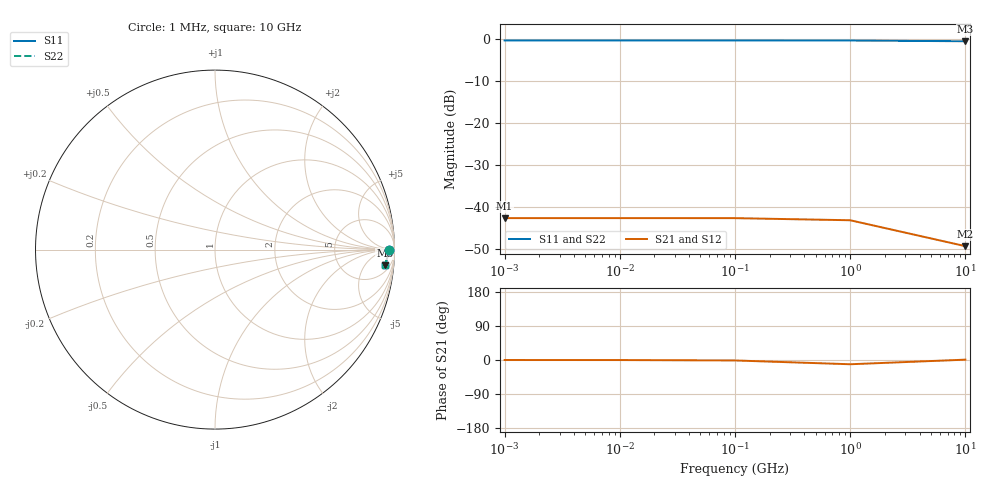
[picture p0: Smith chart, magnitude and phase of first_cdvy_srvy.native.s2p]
! Sonnet Data File
! From: em Version : 18.53-Lite
! From Project: d_cdsv
! Data is NOT De-embedded
! Data File Written: 10/12/2026 11:30:29
!< HDATE 10/12/2026 11:30:29
!< MDATE 10/12/2026 11:30:29
# GHZ S RI R 50.00000
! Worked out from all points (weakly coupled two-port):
!   5 points, 1 MHz to 10 GHz, reference 50 ohm
!   highest |S21| = -42.58 dB at 1 MHz (marker M1); lowest = -49.3 dB at 10 GHz (marker M2)
!   lowest |S11| = -0.4 dB at 10 GHz (marker M3), VSWR 39.35, Z = 452 - j827 ohm
!   |S11| at or under -10 dB: nowhere
!   |S22| runs from -0.4 to -0.2 dB; largest |S21 - S12| = 2e-11
0.001  0.9716 -1.51e-05  0.00743 -1.57e-06  0.00743 -1.57e-06  0.9716 -1.51e-05
0.01  0.9716 -0.000151  0.00743 -1.57e-05  0.00743 -1.57e-05  0.9716 -0.000151
0.1  0.9716 -0.00151  0.00742 -0.000157  0.00742 -0.000157  0.9716 -0.00151
1  0.9696 -0.0144  0.00687 -0.00136  0.00687 -0.00136  0.9696 -0.0144
10  0.9463 -0.0883  0.00344 5.33e-05  0.00344 5.33e-05  0.9463 -0.0883
